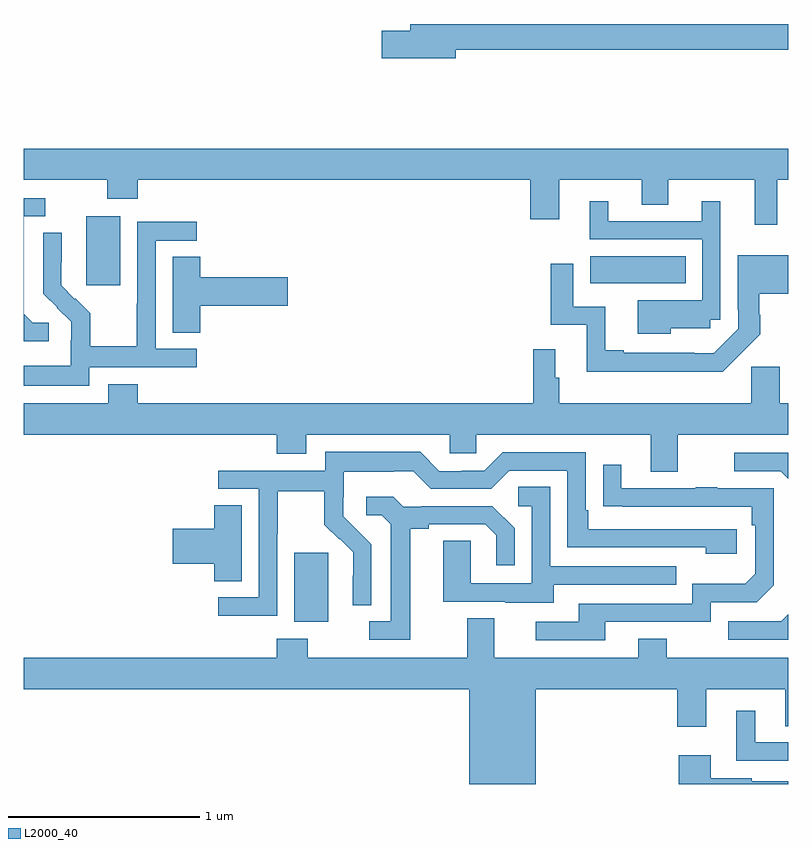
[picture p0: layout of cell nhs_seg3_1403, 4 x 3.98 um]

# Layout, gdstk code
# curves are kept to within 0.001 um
import gdstk
lib = gdstk.Library(unit=1e-6, precision=1e-09)
def R(c, l, rs):  # rectangles x0, y0, x1, y1
    for r in rs: c.add(gdstk.rectangle(r[:2], r[2:], *l))
def P(c, l, *ps):  # polygons
    for p in ps: c.add(gdstk.Polygon(p, *l))
L2000_40 = (2000, 40)

nhs_seg3_1403 = lib.new_cell('nhs_seg3_1403')
R(nhs_seg3_1403, L2000_40, [(184.415,721.25,184.594,721.611), (183.326,723.009,183.505,723.37), (185.964,723.02,186.464,723.16)])
P(nhs_seg3_1403, L2000_40, [(185.26,724.24),(187,724.24),(187,724.376),(185.021,724.376),(185.021,724.34),(184.872,724.34),(184.872,724.198),(185.26,724.198)],
  [(183,723.56),(183.436,723.56),(183.436,723.461),(183.596,723.461),(183.596,723.56),(185.651,723.56),(185.651,723.354),(185.803,723.354),(185.803,723.56),(186.233,723.56),(186.233,723.43),(186.373,723.43),(186.373,723.56),(186.824,723.56),(186.824,723.327),(186.941,723.327),(186.941,723.56),(187,723.56),(187,723.724),(183,723.724)],
  [(183.13,722.814),(183.048,722.814),(183.001,722.861),(183.001,723.369),(183.112,723.369),(183.112,723.465),(183,723.465),(183,722.717),(183.13,722.717)],
  [(186.384,722.783),(186.591,722.783),(186.591,722.829),(186.645,722.829),(186.645,723.448),(186.548,723.448),(186.548,723.345),(186.058,723.345),(186.058,723.448),(185.96,723.448),(185.96,723.249),(186.549,723.249),(186.549,722.932),(186.212,722.932),(186.212,722.756),(186.384,722.756)],
  [(183.342,722.58),(183.904,722.58),(183.904,722.676),(183.69,722.676),(183.69,723.243),(183.904,723.243),(183.904,723.342),(183.594,723.342),(183.594,722.912),(183.592,722.912),(183.592,722.689),(183.347,722.689),(183.347,722.863),(183.27,722.94),(183.267,722.937),(183.197,723.008),(183.198,723.284),(183.102,723.284),(183.102,722.966),(183.248,722.818),(183.248,722.721),(183.246,722.721),(183.246,722.587),(183,722.587),(183,722.483),(183.342,722.483)],
  [(186.854,722.753),(186.854,722.855),(186.847,722.855),(186.847,722.965),(187,722.965),(187,723.166),(186.735,723.166),(186.735,722.881),(186.738,722.881),(186.738,722.781),(186.611,722.654),(186.139,722.655),(186.139,722.668),(186.043,722.668),(186.043,722.898),(185.874,722.898),(185.874,723.121),(185.758,723.121),(185.758,722.802),(185.945,722.802),(185.945,722.558),(186.457,722.558),(186.457,722.556),(186.656,722.556)],
  [(183.923,722.903),(184.381,722.903),(184.381,723.05),(183.923,723.05),(183.923,723.158),(183.779,723.158),(183.779,722.761),(183.923,722.761)],
  [(186.421,722.228),(187,722.228),(187,722.392),(186.956,722.392),(186.956,722.583),(186.805,722.583),(186.805,722.392),(185.801,722.392),(185.801,722.525),(185.782,722.525),(185.782,722.674),(185.665,722.674),(185.665,722.392),(183.596,722.392),(183.596,722.491),(183.443,722.491),(183.443,722.392),(183,722.392),(183,722.228),(184.325,722.228),(184.325,722.129),(184.477,722.129),(184.477,722.228),(185.229,722.228),(185.229,722.13),(185.367,722.13),(185.367,722.228),(186.281,722.228),(186.281,722.034),(186.421,722.034)],
  [(184.326,721.708),(184.329,721.708),(184.329,721.932),(184.573,721.932),(184.573,721.757),(184.65,721.68),(184.653,721.683),(184.724,721.613),(184.724,721.49),(184.722,721.49),(184.722,721.336),(184.818,721.336),(184.818,721.654),(184.672,721.802),(184.672,721.899),(184.674,721.899),(184.674,722.033),(184.937,722.033),(184.937,722.037),(185.037,722.037),(185.13,721.944),(185.445,721.944),(185.541,722.04),(185.844,722.04),(185.844,721.638),(186.569,721.638),(186.569,721.604),(186.73,721.604),(186.73,721.734),(185.953,721.734),(185.953,721.831),(185.94,721.831),(185.94,722.136),(185.505,722.136),(185.409,722.04),(185.291,722.04),(185.291,722.037),(185.175,722.037),(185.075,722.137),(184.578,722.137),(184.578,722.04),(184.017,722.04),(184.017,721.944),(184.23,721.944),(184.23,721.377),(184.017,721.377),(184.017,721.279),(184.326,721.279)],
  [(187,722.133),(186.717,722.133),(186.717,722.037),(186.96,722.037),(187,721.997)],
  [(186.043,721.248),(186.594,721.248),(186.594,721.35),(186.834,721.35),(186.924,721.44),(186.924,721.947),(186.629,721.947),(186.629,721.952),(186.517,721.952),(186.517,721.947),(186.127,721.947),(186.127,722.071),(186.031,722.071),(186.031,721.852),(186.808,721.851),(186.808,721.754),(186.828,721.754),(186.828,721.5),(186.775,721.447),(186.498,721.447),(186.498,721.344),(185.903,721.344),(185.903,721.248),(185.679,721.248),(185.679,721.152),(186.043,721.152)],
  [(185.773,721.443),(186.413,721.443),(186.413,721.539),(185.754,721.539),(185.754,721.955),(185.586,721.955),(185.586,721.854),(185.658,721.854),(185.658,721.449),(185.34,721.449),(185.34,721.673),(185.195,721.673),(185.195,721.353),(185.519,721.353),(185.519,721.349),(185.773,721.349)],
  [(185.023,721.736),(185.119,721.736),(185.119,721.758),(185.414,721.758),(185.471,721.701),(185.471,721.545),(185.568,721.545),(185.568,721.738),(185.452,721.854),(185.08,721.854),(185.08,721.851),(184.986,721.851),(184.934,721.903),(184.791,721.903),(184.791,721.806),(184.872,721.806),(184.919,721.759),(184.919,721.251),(184.809,721.251),(184.809,721.155),(185.023,721.155)],
  [(184.141,721.859),(183.998,721.859),(183.998,721.736),(183.78,721.736),(183.78,721.553),(183.998,721.553),(183.998,721.462),(184.141,721.462)],
  [(187,721.288),(186.963,721.251),(186.687,721.251),(186.687,721.155),(187,721.155)],
  [(185.68,720.896),(186.419,720.896),(186.419,720.699),(186.571,720.699),(186.571,720.896),(186.983,720.896),(186.983,720.703),(187,720.703),(187,721.06),(186.363,721.06),(186.363,721.159),(186.215,721.159),(186.215,721.06),(185.461,721.06),(185.461,721.268),(185.321,721.268),(185.321,721.06),(184.485,721.06),(184.485,721.159),(184.325,721.159),(184.325,721.06),(183,721.06),(183,720.896),(185.33,720.896),(185.33,720.4),(185.68,720.4)],
  [(187,720.618),(186.826,720.618),(186.826,720.784),(186.728,720.784),(186.728,720.522),(187,720.522)],
  [(187,720.415),(186.81,720.415),(186.81,720.43),(186.595,720.43),(186.595,720.55),(186.428,720.55),(186.428,720.4),(187,720.4)])

lib.write_gds('nhs_seg3_1403.gds')
